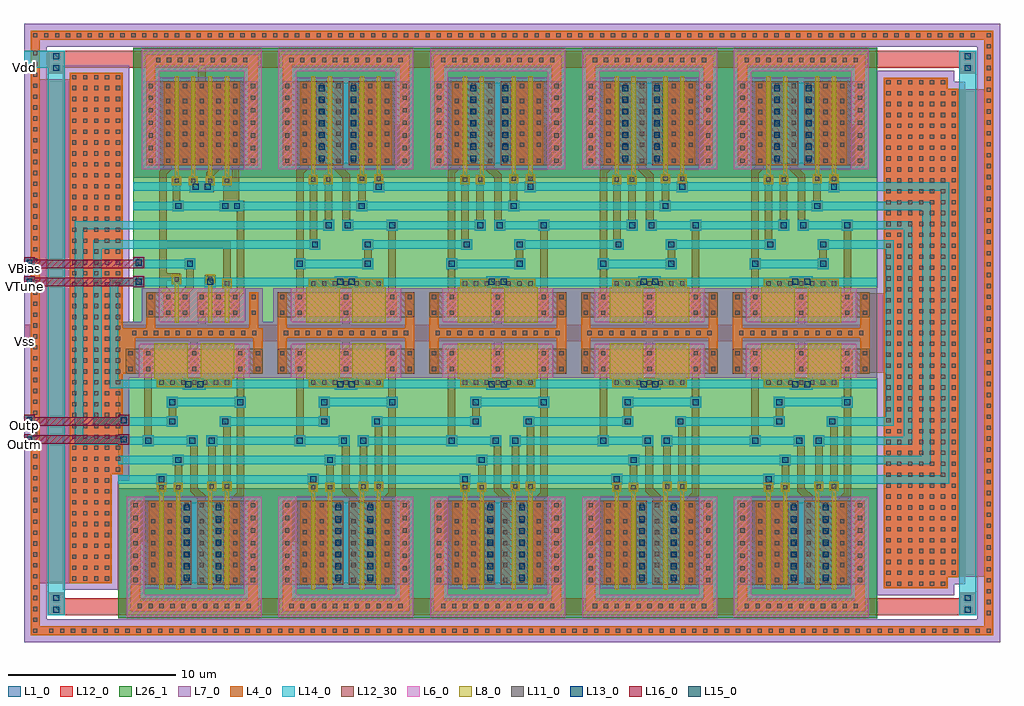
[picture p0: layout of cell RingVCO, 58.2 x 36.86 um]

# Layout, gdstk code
from math import pi, radians
import gdstk
lib = gdstk.Library(unit=1e-6, precision=1e-09)
def R(c, l, rs):  # rectangles x0, y0, x1, y1
    for r in rs: c.add(gdstk.rectangle(r[:2], r[2:], *l))
def A(c, l, x, y, w, h, nx, ny, dx, dy):  # array of equal rectangles
    R(c, l, [(x+i*dx, y+j*dy, x+i*dx+w, y+j*dy+h) for i in range(nx) for j in range(ny)])
L1_0 = (1, 0)
L4_0 = (4, 0)
L6_0 = (6, 0)
L7_0 = (7, 0)
L8_0 = (8, 0)
L11_0 = (11, 0)
L12_0 = (12, 0)
L12_30 = (12, 30)
L13_0 = (13, 0)
L14_0 = (14, 0)
L15_0 = (15, 0)
L16_0 = (16, 0)
L26_1 = (26, 1)

cnt_ptap_auto_5_1 = lib.new_cell('Cnt_PTAP_Auto_5_1')
R(cnt_ptap_auto_5_1, L4_0, [(-1.9,-15.225,1.9,15.225)])
R(cnt_ptap_auto_5_1, L7_0, [(-2.3,-15.625,2.3,15.625)])
A(cnt_ptap_auto_5_1, L11_0, -1.75, -15.075, 0.25, 0.25, 6, 47, 0.65, 0.65)
R(cnt_ptap_auto_5_1, L12_0, [(-1.85,-15.175,1.85,15.175)])

cnt_ptap_auto_4_1 = lib.new_cell('Cnt_PTAP_Auto_4_1')
R(cnt_ptap_auto_4_1, L4_0, [(-0.275,-14.575,0.275,14.575)])
R(cnt_ptap_auto_4_1, L7_0, [(-0.675,-14.975,0.675,14.975)])
A(cnt_ptap_auto_4_1, L11_0, -0.125, -14.425, 0.25, 0.25, 1, 45, 0, 0.65)
R(cnt_ptap_auto_4_1, L12_0, [(-0.225,-14.525,0.225,14.525)])

cnt_ptap_auto_3_1 = lib.new_cell('Cnt_PTAP_Auto_3_1')
R(cnt_ptap_auto_3_1, L4_0, [(-1.25,-3.2,1.25,3.2)])
R(cnt_ptap_auto_3_1, L7_0, [(-1.65,-3.6,1.65,3.6)])
A(cnt_ptap_auto_3_1, L11_0, -1.1, -3.05, 0.25, 0.25, 4, 10, 0.65, 0.65)
R(cnt_ptap_auto_3_1, L12_0, [(-1.2,-3.15,1.2,3.15)])

cnt_ptap_auto_2_1 = lib.new_cell('Cnt_PTAP_Auto_2_1')
R(cnt_ptap_auto_2_1, L4_0, [(-1.575,-11.975,1.575,11.975)])
R(cnt_ptap_auto_2_1, L7_0, [(-1.975,-12.375,1.975,12.375)])
A(cnt_ptap_auto_2_1, L11_0, -1.425, -11.825, 0.25, 0.25, 5, 37, 0.65, 0.65)
R(cnt_ptap_auto_2_1, L12_0, [(-1.525,-11.925,1.525,11.925)])

via_m1m2_auto_1_1 = lib.new_cell('Via_M1M2_Auto_1_1')
R(via_m1m2_auto_1_1, L12_0, [(-0.325,-0.675,0.325,0.675)])
R(via_m1m2_auto_1_1, L13_0, [(-0.175,-0.525,0.175,-0.175), (-0.175,0.175,0.175,0.525)])
R(via_m1m2_auto_1_1, L14_0, [(-0.325,-0.675,0.325,0.675)])

via_m2m3_auto_0_1 = lib.new_cell('Via_M2M3_Auto_0_1')
R(via_m2m3_auto_0_1, L14_0, [(-0.325,-0.325,0.325,0.325)])
R(via_m2m3_auto_0_1, L15_0, [(-0.175,-0.175,0.175,0.175)])
R(via_m2m3_auto_0_1, L16_0, [(-0.325,-0.325,0.325,0.325)])

via_m1m2_auto_13_1 = lib.new_cell('Via_M1M2_Auto_13_1')
R(via_m1m2_auto_13_1, L12_0, [(-0.675,-0.325,0.675,0.325)])
R(via_m1m2_auto_13_1, L13_0, [(-0.525,-0.175,-0.175,0.175), (0.175,-0.175,0.525,0.175)])
R(via_m1m2_auto_13_1, L14_0, [(-0.675,-0.325,0.675,0.325)])

via_m1m2_auto_12_1 = lib.new_cell('Via_M1M2_Auto_12_1')
R(via_m1m2_auto_12_1, L12_0, [(-0.325,-0.325,0.325,0.325)])
R(via_m1m2_auto_12_1, L13_0, [(-0.175,-0.175,0.175,0.175)])
R(via_m1m2_auto_12_1, L14_0, [(-0.325,-0.325,0.325,0.325)])

cnt_poly_auto_11_1 = lib.new_cell('Cnt_Poly_Auto_11_1')
R(cnt_poly_auto_11_1, L8_0, [(-0.275,-0.275,0.275,0.275)])
R(cnt_poly_auto_11_1, L11_0, [(-0.125,-0.125,0.125,0.125)])
R(cnt_poly_auto_11_1, L12_0, [(-0.225,-0.225,0.225,0.225)])

cnt_ntap_auto_10_1 = lib.new_cell('Cnt_NTAP_Auto_10_1')
R(cnt_ntap_auto_10_1, L1_0, [(-3.325,-0.725,3.325,0.725)])
R(cnt_ntap_auto_10_1, L4_0, [(-2.875,-0.275,2.875,0.275)])
R(cnt_ntap_auto_10_1, L6_0, [(-3.275,-0.675,3.275,0.675)])
A(cnt_ntap_auto_10_1, L11_0, -2.725, -0.125, 0.25, 0.25, 9, 1, 0.65, 0)
R(cnt_ntap_auto_10_1, L12_0, [(-2.825,-0.225,2.825,0.225)])

c__pdk_cs = lib.new_cell('_PDK_CS')
R(c__pdk_cs, L11_0, [(0,0,0.25,0.25)])

nmos25_auto_9_1 = lib.new_cell('nmos25_Auto_9_1')
R(nmos25_auto_9_1, L4_0, [(-0.65,0,0.9,1.5)])
R(nmos25_auto_9_1, L6_0, [(-0.9,-0.25,1.15,1.75)])
R(nmos25_auto_9_1, L8_0, [(0,-0.3,0.25,1.8), (0,-0.3,0.25,1.8)])
R(nmos25_auto_9_1, L12_0, [(-0.6,0.05,-0.15,1.45), (-0.6,0.05,-0.15,1.45), (0.4,0.05,0.85,1.45), (0.4,0.05,0.85,1.45)])
R(nmos25_auto_9_1, L12_30, [(-0.65,0,0.9,1.5)])
nmos25_auto_9_1.add(gdstk.Reference(c__pdk_cs, (0.5,1.1)))
nmos25_auto_9_1.add(gdstk.Reference(c__pdk_cs, (0.5,0.15)))
nmos25_auto_9_1.add(gdstk.Reference(c__pdk_cs, (-0.5,1.1)))
nmos25_auto_9_1.add(gdstk.Reference(c__pdk_cs, (-0.5,0.15)))
nmos25_auto_9_1.add(gdstk.Label('G', (0.125,0.75), layer=8, texttype=0))
nmos25_auto_9_1.add(gdstk.Label('D', (0.625,0.75), layer=12, texttype=0))
nmos25_auto_9_1.add(gdstk.Label('S', (-0.375,0.75), layer=12, texttype=0))

nmos25_auto_8_1 = lib.new_cell('nmos25_Auto_8_1')
R(nmos25_auto_8_1, L4_0, [(-0.65,0,0.9,1.5), (1.4,0,1.95,1.5)])
R(nmos25_auto_8_1, L6_0, [(-0.9,-0.25,1.15,1.75)])
R(nmos25_auto_8_1, L7_0, [(1.15,-0.25,2.2,1.75)])
R(nmos25_auto_8_1, L8_0, [(0,-0.3,0.25,1.8), (0,-0.3,0.25,1.8)])
R(nmos25_auto_8_1, L11_0, [(1.55,0.15,1.8,0.4), (1.55,1.1,1.8,1.35)])
R(nmos25_auto_8_1, L12_0, [(-0.6,0.05,-0.15,1.45), (-0.6,0.05,-0.15,1.45), (0.4,0.05,0.85,1.45), (0.4,0.05,0.85,1.45), (1.45,0.05,1.9,1.45), (1.45,0.05,1.9,1.45)])
R(nmos25_auto_8_1, L12_30, [(-0.65,0,1.95,1.5)])
nmos25_auto_8_1.add(gdstk.Reference(c__pdk_cs, (0.5,1.1)))
nmos25_auto_8_1.add(gdstk.Reference(c__pdk_cs, (0.5,0.15)))
nmos25_auto_8_1.add(gdstk.Reference(c__pdk_cs, (-0.5,1.1)))
nmos25_auto_8_1.add(gdstk.Reference(c__pdk_cs, (-0.5,0.15)))
nmos25_auto_8_1.add(gdstk.Label('B', (1.675,0.75), layer=12, texttype=0))
nmos25_auto_8_1.add(gdstk.Label('G', (0.125,0.75), layer=8, texttype=0))
nmos25_auto_8_1.add(gdstk.Label('D', (0.625,0.75), layer=12, texttype=0))
nmos25_auto_8_1.add(gdstk.Label('S', (-0.375,0.75), layer=12, texttype=0))

pmos25_auto_6_1 = lib.new_cell('pmos25_Auto_6_1')
R(pmos25_auto_6_1, L1_0, [(-1.4,-0.75,2.7,5.75)])
R(pmos25_auto_6_1, L4_0, [(-0.65,0,0.9,5), (1.4,0,1.95,5)])
R(pmos25_auto_6_1, L6_0, [(1.15,-0.25,2.2,5.25)])
R(pmos25_auto_6_1, L7_0, [(-0.9,-0.25,1.15,5.25)])
R(pmos25_auto_6_1, L8_0, [(0,-0.3,0.25,5.3), (0,-0.3,0.25,5.3)])
A(pmos25_auto_6_1, L11_0, 1.55, 0.15, 0.25, 0.25, 1, 6, 0, 0.75)
R(pmos25_auto_6_1, L11_0, [(1.55,4.6,1.8,4.85)])
R(pmos25_auto_6_1, L12_0, [(-0.6,0.05,-0.15,4.95), (-0.6,0.05,-0.15,4.95), (0.4,0.05,0.85,4.95), (0.4,0.05,0.85,4.95), (1.45,0.05,1.9,4.95), (1.45,0.05,1.9,4.95)])
R(pmos25_auto_6_1, L12_30, [(-0.65,0,1.95,5)])
r = gdstk.Reference(c__pdk_cs, (0.5,1.1)); r.repetition = gdstk.Repetition(1, 5, v1=(0.65,0), v2=(0,0.65)); pmos25_auto_6_1.add(r)
pmos25_auto_6_1.add(gdstk.Reference(c__pdk_cs, (0.5,4.6)))
pmos25_auto_6_1.add(gdstk.Reference(c__pdk_cs, (0.5,0.15)))
r = gdstk.Reference(c__pdk_cs, (-0.5,1.1)); r.repetition = gdstk.Repetition(1, 5, v1=(0.65,0), v2=(0,0.65)); pmos25_auto_6_1.add(r)
pmos25_auto_6_1.add(gdstk.Reference(c__pdk_cs, (-0.5,4.6)))
pmos25_auto_6_1.add(gdstk.Reference(c__pdk_cs, (-0.5,0.15)))
pmos25_auto_6_1.add(gdstk.Label('B', (1.675,2.5), layer=12, texttype=0))
pmos25_auto_6_1.add(gdstk.Label('G', (0.125,2.5), layer=8, texttype=0))
pmos25_auto_6_1.add(gdstk.Label('D', (0.625,2.5), layer=12, texttype=0))
pmos25_auto_6_1.add(gdstk.Label('S', (-0.375,2.5), layer=12, texttype=0))

pmos25_auto_7_1 = lib.new_cell('pmos25_Auto_7_1')
R(pmos25_auto_7_1, L1_0, [(-1.4,-0.75,1.65,5.75)])
R(pmos25_auto_7_1, L4_0, [(-0.65,0,0.9,5)])
R(pmos25_auto_7_1, L7_0, [(-0.9,-0.25,1.15,5.25)])
R(pmos25_auto_7_1, L8_0, [(0,-0.3,0.25,5.3), (0,-0.3,0.25,5.3)])
R(pmos25_auto_7_1, L12_0, [(-0.6,0.05,-0.15,4.95), (-0.6,0.05,-0.15,4.95), (0.4,0.05,0.85,4.95), (0.4,0.05,0.85,4.95)])
R(pmos25_auto_7_1, L12_30, [(-0.65,0,0.9,5)])
r = gdstk.Reference(c__pdk_cs, (0.5,1.1)); r.repetition = gdstk.Repetition(1, 5, v1=(0.65,0), v2=(0,0.65)); pmos25_auto_7_1.add(r)
pmos25_auto_7_1.add(gdstk.Reference(c__pdk_cs, (0.5,4.6)))
pmos25_auto_7_1.add(gdstk.Reference(c__pdk_cs, (0.5,0.15)))
r = gdstk.Reference(c__pdk_cs, (-0.5,1.1)); r.repetition = gdstk.Repetition(1, 5, v1=(0.65,0), v2=(0,0.65)); pmos25_auto_7_1.add(r)
pmos25_auto_7_1.add(gdstk.Reference(c__pdk_cs, (-0.5,4.6)))
pmos25_auto_7_1.add(gdstk.Reference(c__pdk_cs, (-0.5,0.15)))
pmos25_auto_7_1.add(gdstk.Label('G', (0.125,2.5), layer=8, texttype=0))
pmos25_auto_7_1.add(gdstk.Label('D', (0.625,2.5), layer=12, texttype=0))
pmos25_auto_7_1.add(gdstk.Label('S', (-0.375,2.5), layer=12, texttype=0))

control = lib.new_cell('Control')
R(control, L1_0, [(-0.2,15.98,7.95,17.23)])
R(control, L4_0, [(0.55,-0.025,1.1,1.15), (6.7,-0.025,7.25,2.65), (0.55,15.23,1.1,16.78), (6.65,15.23,7.2,16.78)])
R(control, L6_0, [(0.3,15.48,1.35,17.18), (6.4,15.48,7.45,17.18)])
R(control, L7_0, [(0.3,-0.275,1.35,2.9), (6.45,-0.275,7.5,2.9)])
R(control, L11_0, [(6.85,1.3,7.1,1.55), (6.85,2.25,7.1,2.5)])
R(control, L12_0, [(-0.2,-0.275,7.95,0.725), (6.75,0.225,7.2,2.6), (4.05,3.6,4.7,3.68), (5.15,7.625,6.1,9.525), (3.15,8.625,4.6,9.075), (-0.2,16.055,7.95,17.055)])
A(control, L14_0, -0.2, 5.25, 8.15, 0.5, 1, 4, 0, 1.15)
R(control, L14_0, [(-0.2,3.025,7.95,3.525), (-0.2,4.1,3.5,4.6)])
R(control, L26_1, [(-0.205,-0.275,7.95,17.235)])
control.add(gdstk.FlexPath([(4.375,9.43),(4.375,9.93)], 0.25, ends="extended", simple_path=True, layer=8, datatype=0))  # L8_0
control.add(gdstk.FlexPath([(2.375,3.25),(2.375,2.95)], 0.25, ends="extended", simple_path=True, layer=8, datatype=0))  # L8_0
control.add(gdstk.FlexPath([(4.375,3.45),(4.375,2.95)], 0.25, ends="extended", simple_path=True, layer=8, datatype=0))  # L8_0
control.add(gdstk.FlexPath([(5.375,9.43),(5.375,9.93)], 0.25, ends="extended", simple_path=True, layer=8, datatype=0))  # L8_0
control.add(gdstk.FlexPath([(2.375,9.515),(2.375,9.93)], 0.25, ends="extended", simple_path=True, layer=8, datatype=0))  # L8_0
control.add(gdstk.FlexPath([(3.375,9.58),(3.375,9.93)], 0.25, ends="extended", simple_path=True, layer=8, datatype=0))  # L8_0
control.add(gdstk.FlexPath([(5.375,4.375),(5.375,5.505),(1.575,5.505)], 0.45, ends="extended", simple_path=True, layer=12, datatype=0))  # L12_0
control.add(gdstk.FlexPath([(6.175,8.125),(6.175,2.705),(5.875,2.405),(5.875,2.15)], 0.45, ends="flush", simple_path=True, layer=12, datatype=0))  # L12_0
control.add(gdstk.FlexPath([(3.875,16.505),(3.875,14.955)], 0.45, ends="extended", simple_path=True, layer=12, datatype=0))  # L12_0
control.add(gdstk.FlexPath([(6.925,16.475),(6.925,14.955)], 0.45, ends="extended", simple_path=True, layer=12, datatype=0))  # L12_0
control.add(gdstk.FlexPath([(0.825,16.455),(0.825,14.955)], 0.45, ends="extended", simple_path=True, layer=12, datatype=0))  # L12_0
control.add(gdstk.FlexPath([(1.575,3.555),(2.375,3.555)], 0.45, ends="extended", simple_path=True, layer=12, datatype=0))  # L12_0
control.add(gdstk.FlexPath([(3.175,4.37),(3.175,2.955),(2.875,2.655),(2.875,2.15)], 0.45, ends="flush", simple_path=True, layer=12, datatype=0))  # L12_0
control.add(gdstk.FlexPath([(3.875,0.225),(3.875,1.425)], 0.45, ends="extended", simple_path=True, layer=12, datatype=0))  # L12_0
control.add(gdstk.FlexPath([(2.375,7.79),(2.375,9.3)], 0.45, ends="extended", simple_path=True, layer=12, datatype=0))  # L12_0
control.add(gdstk.FlexPath([(5.375,4.375),(5.375,3.455)], 0.45, ends="extended", simple_path=True, layer=12, datatype=0))  # L12_0
control.add(gdstk.FlexPath([(4.375,9.175),(4.375,9.69),(4.875,10.19),(4.875,10.35)], 0.45, ends="extended", simple_path=True, layer=12, datatype=0))  # L12_0
control.add(gdstk.FlexPath([(1.575,7.02),(1.575,2.885),(1.875,2.585),(1.875,2.225)], 0.45, ends="extended", simple_path=True, layer=12, datatype=0))  # L12_0
control.add(gdstk.FlexPath([(1.575,6.905),(1.575,9.77),(1.875,10.07),(1.875,10.43)], 0.45, ends="extended", simple_path=True, layer=12, datatype=0))  # L12_0
control.add(gdstk.FlexPath([(0.825,0.225),(0.825,1.435)], 0.45, ends="flush", simple_path=True, layer=12, datatype=0))  # L12_0
control.add(gdstk.FlexPath([(5.875,9.52),(5.875,10.505)], 0.45, ends="extended", simple_path=True, layer=12, datatype=0))  # L12_0
control.add(gdstk.Reference(via_m1m2_auto_13_1, (3.875,8.95)))
control.add(gdstk.Reference(via_m1m2_auto_13_1, (5.63,7.8)))
control.add(gdstk.Reference(via_m1m2_auto_12_1, (3.175,4.35)))
control.add(gdstk.Reference(via_m1m2_auto_12_1, (4.375,3.275)))
control.add(gdstk.Reference(via_m1m2_auto_12_1, (2.475,7.8)))
control.add(gdstk.Reference(cnt_poly_auto_11_1, (2.375,3.42)))
control.add(gdstk.Reference(cnt_poly_auto_11_1, (4.375,9.3)))
control.add(gdstk.Reference(cnt_poly_auto_11_1, (5.375,9.3)))
control.add(gdstk.Reference(cnt_poly_auto_11_1, (3.375,9.3)))
control.add(gdstk.Reference(cnt_poly_auto_11_1, (4.375,3.455)))
control.add(gdstk.Reference(cnt_poly_auto_11_1, (2.375,9.3)))
control.add(gdstk.Reference(cnt_poly_auto_11_1, (5.375,3.175)))
control.add(gdstk.Reference(cnt_ntap_auto_10_1, (3.875,16.505)))
control.add(gdstk.Reference(nmos25_auto_9_1, (5.25,1.15)))
control.add(gdstk.Reference(nmos25_auto_9_1, (4.25,1.15)))
control.add(gdstk.Reference(nmos25_auto_8_1, (2.5,1.15), rotation=pi, x_reflection=True))
control.add(gdstk.Reference(pmos25_auto_6_1, (5.25,10.23)))
control.add(gdstk.Reference(pmos25_auto_7_1, (4.25,10.23)))
control.add(gdstk.Reference(pmos25_auto_7_1, (3.5,10.23), rotation=pi, x_reflection=True))
control.add(gdstk.Reference(pmos25_auto_6_1, (2.5,10.23), rotation=pi, x_reflection=True))
control.add(gdstk.Label('VTune', (-0.2,3.025), layer=14, texttype=0))
control.add(gdstk.Label('Vb2', (-0.2,7.55), layer=14, texttype=0))
control.add(gdstk.Label('Vb1', (-0.2,8.7), layer=14, texttype=0))
control.add(gdstk.Label('VBias', (-0.2,4.1), layer=14, texttype=0))
control.add(gdstk.Label('Vdd', (-0.2,16.555), layer=12, texttype=0))
control.add(gdstk.Label('Vss', (-0.145,0.225), layer=12, texttype=0))

via_m1m2_auto_20_1 = lib.new_cell('Via_M1M2_Auto_20_1')
R(via_m1m2_auto_20_1, L12_0, [(-0.675,-0.325,0.675,0.325)])
R(via_m1m2_auto_20_1, L13_0, [(-0.525,-0.175,-0.175,0.175), (0.175,-0.175,0.525,0.175)])
R(via_m1m2_auto_20_1, L14_0, [(-0.675,-0.325,0.675,0.325)])

cnt_poly_auto_19_1 = lib.new_cell('Cnt_Poly_Auto_19_1')
R(cnt_poly_auto_19_1, L8_0, [(-2.225,-0.275,2.225,0.275)])
A(cnt_poly_auto_19_1, L11_0, -2.075, -0.125, 0.25, 0.25, 7, 1, 0.65, 0)
R(cnt_poly_auto_19_1, L12_0, [(-2.175,-0.225,2.175,0.225)])

cnt_ptap_auto_18_1 = lib.new_cell('Cnt_PTAP_Auto_18_1')
R(cnt_ptap_auto_18_1, L4_0, [(-3.85,-0.275,3.85,0.275)])
R(cnt_ptap_auto_18_1, L7_0, [(-4.25,-0.675,4.25,0.675)])
A(cnt_ptap_auto_18_1, L11_0, -3.7, -0.125, 0.25, 0.25, 12, 1, 0.65, 0)
R(cnt_ptap_auto_18_1, L12_0, [(-3.8,-0.225,3.8,0.225)])

cnt_ntap_auto_17_1 = lib.new_cell('Cnt_NTAP_Auto_17_1')
R(cnt_ntap_auto_17_1, L1_0, [(-3.975,-0.725,3.975,0.725)])
R(cnt_ntap_auto_17_1, L4_0, [(-3.525,-0.275,3.525,0.275)])
R(cnt_ntap_auto_17_1, L6_0, [(-3.925,-0.675,3.925,0.675)])
A(cnt_ntap_auto_17_1, L11_0, -3.375, -0.125, 0.25, 0.25, 11, 1, 0.65, 0)
R(cnt_ntap_auto_17_1, L12_0, [(-3.475,-0.225,3.475,0.225)])

via_m1m2_auto_16_1 = lib.new_cell('Via_M1M2_Auto_16_1')
R(via_m1m2_auto_16_1, L12_0, [(-0.325,-2.425,0.325,2.425)])
A(via_m1m2_auto_16_1, L13_0, -0.175, -2.275, 0.35, 0.35, 1, 7, 0, 0.7)
R(via_m1m2_auto_16_1, L14_0, [(-0.325,-2.425,0.325,2.425)])

nmos25x_auto_15_1 = lib.new_cell('nmos25x_Auto_15_1')
R(nmos25x_auto_15_1, L4_0, [(-0.65,0,2.65,1.5), (3.15,0,3.7,1.5)])
R(nmos25x_auto_15_1, L6_0, [(-0.9,-0.25,2.9,1.75)])
R(nmos25x_auto_15_1, L7_0, [(2.9,-0.25,3.95,1.75)])
R(nmos25x_auto_15_1, L8_0, [(0,-0.3,2,1.8), (0,-0.3,2,1.8)])
R(nmos25x_auto_15_1, L11_0, [(3.3,0.15,3.55,0.4), (3.3,1.1,3.55,1.35)])
R(nmos25x_auto_15_1, L12_0, [(-0.6,0.05,-0.15,1.45), (-0.6,0.05,-0.15,1.45), (2.15,0.05,2.6,1.45), (2.15,0.05,2.6,1.45), (3.2,0.05,3.65,1.45), (3.2,0.05,3.65,1.45)])
R(nmos25x_auto_15_1, L12_30, [(-0.65,0,3.7,1.5)])
nmos25x_auto_15_1.add(gdstk.Reference(c__pdk_cs, (2.25,1.1)))
nmos25x_auto_15_1.add(gdstk.Reference(c__pdk_cs, (2.25,0.15)))
nmos25x_auto_15_1.add(gdstk.Reference(c__pdk_cs, (-0.5,1.1)))
nmos25x_auto_15_1.add(gdstk.Reference(c__pdk_cs, (-0.5,0.15)))
nmos25x_auto_15_1.add(gdstk.Label('B', (3.425,0.75), layer=12, texttype=0))
nmos25x_auto_15_1.add(gdstk.Label('G', (1,0.75), layer=8, texttype=0))
nmos25x_auto_15_1.add(gdstk.Label('D', (2.375,0.75), layer=12, texttype=0))
nmos25x_auto_15_1.add(gdstk.Label('S', (-0.375,0.75), layer=12, texttype=0))

pmos25x_auto_14_1 = lib.new_cell('pmos25x_Auto_14_1')
R(pmos25x_auto_14_1, L1_0, [(-2.45,-0.75,1.65,5.75)])
R(pmos25x_auto_14_1, L4_0, [(-1.7,0,-1.15,5), (-0.65,0,0.9,5)])
R(pmos25x_auto_14_1, L6_0, [(-1.95,-0.25,-0.9,5.25)])
R(pmos25x_auto_14_1, L7_0, [(-0.9,-0.25,1.15,5.25)])
R(pmos25x_auto_14_1, L8_0, [(0,-0.3,0.25,5.3), (0,-0.3,0.25,5.3)])
A(pmos25x_auto_14_1, L11_0, -1.55, 0.15, 0.25, 0.25, 1, 6, 0, 0.75)
R(pmos25x_auto_14_1, L11_0, [(-1.55,4.6,-1.3,4.85)])
R(pmos25x_auto_14_1, L12_0, [(-1.65,0.05,-1.2,4.95), (-1.65,0.05,-1.2,4.95), (-0.6,0.05,-0.15,4.95), (-0.6,0.05,-0.15,4.95), (0.4,0.05,0.85,4.95), (0.4,0.05,0.85,4.95)])
R(pmos25x_auto_14_1, L12_30, [(-1.7,0,0.9,5)])
r = gdstk.Reference(c__pdk_cs, (0.5,1.1)); r.repetition = gdstk.Repetition(1, 5, v1=(0.65,0), v2=(0,0.65)); pmos25x_auto_14_1.add(r)
pmos25x_auto_14_1.add(gdstk.Reference(c__pdk_cs, (0.5,4.6)))
pmos25x_auto_14_1.add(gdstk.Reference(c__pdk_cs, (0.5,0.15)))
r = gdstk.Reference(c__pdk_cs, (-0.5,1.1)); r.repetition = gdstk.Repetition(1, 5, v1=(0.65,0), v2=(0,0.65)); pmos25x_auto_14_1.add(r)
pmos25x_auto_14_1.add(gdstk.Reference(c__pdk_cs, (-0.5,4.6)))
pmos25x_auto_14_1.add(gdstk.Reference(c__pdk_cs, (-0.5,0.15)))
pmos25x_auto_14_1.add(gdstk.Label('B', (-1.425,2.5), layer=12, texttype=0))
pmos25x_auto_14_1.add(gdstk.Label('G', (0.125,2.5), layer=8, texttype=0))
pmos25x_auto_14_1.add(gdstk.Label('D', (0.625,2.5), layer=12, texttype=0))
pmos25x_auto_14_1.add(gdstk.Label('S', (-0.375,2.5), layer=12, texttype=0))

diffcell = lib.new_cell('DiffCell')
R(diffcell, L1_0, [(-0.055,16.255,8.995,17.505)])
R(diffcell, L4_0, [(0.395,0.225,0.945,1.425), (7.995,0.225,8.545,1.425), (0.695,15.505,1.245,17.055), (7.695,15.505,8.245,17.055)])
R(diffcell, L6_0, [(0.445,15.755,1.495,17.455), (7.445,15.755,8.495,17.455)])
R(diffcell, L7_0, [(0.145,-0.175,0.22,1.175), (8.72,-0.175,8.795,1.175)])
R(diffcell, L12_0, [(-0.055,0,8.995,1), (2.695,10.555,3.345,10.58), (4.595,10.555,5.245,10.58), (6.695,10.555,8.195,12.955), (2.695,15.43,3.345,15.455), (4.595,15.43,5.245,15.455), (-0.055,16.33,8.995,17.33), (-0.055,16.33,8.995,17.33)])
R(diffcell, L14_0, [(-0.055,3.3,8.995,3.8), (1.395,4.375,6.1,4.875), (-0.055,5.525,2.945,6.025), (-0.055,5.525,0.445,6.025), (5.45,5.525,8.995,6.025), (8.495,5.525,8.995,6.025), (-0.055,6.675,3.76,7.175), (-0.055,6.675,0.445,7.175), (4.26,6.675,8.995,7.175), (8.495,6.675,8.995,7.175), (-0.055,7.825,8.995,8.325), (-0.055,8.975,8.995,9.475), (2.695,10.58,5.245,15.43)])
R(diffcell, L26_1, [(-0.055,-0.175,8.995,17.505)])
diffcell.add(gdstk.FlexPath([(5.42,9.705),(5.42,10.205)], 0.25, ends="extended", simple_path=True, layer=8, datatype=0))  # L8_0
diffcell.add(gdstk.FlexPath([(6.42,9.705),(6.42,10.205)], 0.25, ends="extended", simple_path=True, layer=8, datatype=0))  # L8_0
diffcell.add(gdstk.FlexPath([(2.52,9.79),(2.52,10.205)], 0.25, ends="extended", simple_path=True, layer=8, datatype=0))  # L8_0
diffcell.add(gdstk.FlexPath([(3.52,9.855),(3.52,10.205)], 0.25, ends="extended", simple_path=True, layer=8, datatype=0))  # L8_0
diffcell.add(gdstk.FlexPath([(3.415,6.67),(3.415,9.685)], 0.45, ends="flush", simple_path=True, layer=12, datatype=0))  # L12_0
diffcell.add(gdstk.FlexPath([(4.485,6.925),(4.485,9.848),(4.02,10.313),(4.02,10.78)], 0.45, ends="flush", simple_path=True, layer=12, datatype=0))  # L12_0
diffcell.add(gdstk.FlexPath([(7.97,16.75),(7.97,15.23)], 0.45, ends="extended", simple_path=True, layer=12, datatype=0))  # L12_0
diffcell.add(gdstk.FlexPath([(0.97,16.73),(0.97,15.23)], 0.45, ends="extended", simple_path=True, layer=12, datatype=0))  # L12_0
diffcell.add(gdstk.FlexPath([(7.22,6.925),(7.22,2.04)], 0.45, ends="flush", simple_path=True, layer=12, datatype=0))  # L12_0
diffcell.add(gdstk.FlexPath([(5.775,4.625),(5.775,5.765)], 0.45, ends="extended", simple_path=True, layer=12, datatype=0))  # L12_0
diffcell.add(gdstk.FlexPath([(6.42,9.12),(6.42,9.7)], 0.45, ends="flush", simple_path=True, layer=12, datatype=0))  # L12_0
diffcell.add(gdstk.FlexPath([(5.42,8.075),(5.42,9.7)], 0.45, ends="flush", simple_path=True, layer=12, datatype=0))  # L12_0
diffcell.add(gdstk.FlexPath([(4.47,0.5),(4.47,1.71)], 0.45, ends="flush", simple_path=True, layer=12, datatype=0))  # L12_0
diffcell.add(gdstk.FlexPath([(8.27,0.5),(8.27,1.71)], 0.45, ends="flush", simple_path=True, layer=12, datatype=0))  # L12_0
diffcell.add(gdstk.FlexPath([(0.67,0.5),(0.67,1.71)], 0.45, ends="flush", simple_path=True, layer=12, datatype=0))  # L12_0
diffcell.add(gdstk.FlexPath([(1.72,1.74),(1.72,10.12),(2.02,10.42),(2.02,10.78)], 0.45, ends="flush", simple_path=True, layer=12, datatype=0))  # L12_0
diffcell.add(gdstk.FlexPath([(2.52,5.525),(2.52,9.69)], 0.45, ends="flush", simple_path=True, layer=12, datatype=0))  # L12_0
diffcell.add(gdstk.Reference(cnt_poly_auto_11_1, (3.42,9.65)))
diffcell.add(gdstk.Reference(cnt_poly_auto_11_1, (2.52,9.65)))
diffcell.add(gdstk.Reference(cnt_poly_auto_11_1, (6.42,9.7)))
diffcell.add(gdstk.Reference(cnt_poly_auto_11_1, (5.42,9.7)))
diffcell.add(gdstk.Reference(via_m1m2_auto_20_1, (4.47,3.55)))
diffcell.add(gdstk.Reference(cnt_poly_auto_19_1, (4.47,3.45)))
diffcell.add(gdstk.Reference(cnt_ptap_auto_18_1, (4.47,0.5)))
diffcell.add(gdstk.Reference(via_m1m2_auto_12_1, (4.585,6.925)))
diffcell.add(gdstk.Reference(via_m1m2_auto_12_1, (7.22,6.925)))
diffcell.add(gdstk.Reference(via_m1m2_auto_12_1, (5.775,5.775)))
diffcell.add(gdstk.Reference(via_m1m2_auto_12_1, (6.42,9.225)))
diffcell.add(gdstk.Reference(via_m1m2_auto_12_1, (5.42,8.075)))
diffcell.add(gdstk.Reference(via_m1m2_auto_12_1, (5.775,4.625)))
diffcell.add(gdstk.Reference(via_m1m2_auto_12_1, (1.72,4.625)))
diffcell.add(gdstk.Reference(via_m1m2_auto_12_1, (3.435,6.925)))
diffcell.add(gdstk.Reference(via_m1m2_auto_12_1, (2.62,5.775)))
diffcell.add(gdstk.Reference(cnt_ntap_auto_17_1, (4.47,16.78)))
diffcell.add(gdstk.Reference(via_m1m2_auto_16_1, (3.02,13.005)))
diffcell.add(gdstk.Reference(via_m1m2_auto_16_1, (4.92,13.005)))
diffcell.add(gdstk.Reference(nmos25x_auto_15_1, (4.845,1.425)))
diffcell.add(gdstk.Reference(nmos25x_auto_15_1, (4.095,1.425), rotation=pi, x_reflection=True))
diffcell.add(gdstk.Reference(pmos25x_auto_14_1, (6.545,10.505), rotation=pi, x_reflection=True))
diffcell.add(gdstk.Reference(pmos25_auto_7_1, (5.545,10.505), rotation=pi, x_reflection=True))
diffcell.add(gdstk.Reference(pmos25_auto_7_1, (3.395,10.505)))
diffcell.add(gdstk.Reference(pmos25_auto_6_1, (2.645,10.505), rotation=pi, x_reflection=True))
diffcell.add(gdstk.Label('VTune', (-0.055,3.3), layer=14, texttype=0))
diffcell.add(gdstk.Label('Inm', (-0.055,5.525), layer=14, texttype=0))
diffcell.add(gdstk.Label('Inp', (-0.055,6.675), layer=14, texttype=0))
diffcell.add(gdstk.Label('Vb2', (-0.055,7.825), layer=14, texttype=0))
diffcell.add(gdstk.Label('Vb1', (-0.055,8.975), layer=14, texttype=0))
diffcell.add(gdstk.Label('Outm', (8.495,6.675), layer=14, texttype=0))
diffcell.add(gdstk.Label('Outp', (8.495,5.525), layer=14, texttype=0))
diffcell.add(gdstk.Label('Vdd', (-0.055,16.83), layer=12, texttype=0))
diffcell.add(gdstk.Label('Vss', (-0.055,0.5), layer=12, texttype=0))

ringvco = lib.new_cell('RingVCO')
R(ringvco, L1_0, [(5.3,1.425,50.55,9.175), (6.2,27.685,50.55,35.435)])
R(ringvco, L4_0, [(0.075,0.4,57.475,0.95), (0.075,0.4,0.625,36.46), (56.925,0.4,57.475,36.46), (54.75,3.855,54.85,33.005), (2.4,9.91,4.9,10.01), (5.48,16.005,5.75,18.705), (0.075,35.91,57.475,36.46)])
A(ringvco, L7_0, 23.2, 15.755, 0.4, 5.35, 3, 1, 9.05, 0)
R(ringvco, L7_0, [(-0.325,0,57.875,1.35), (-0.325,0,1.025,36.86), (56.525,0,57.875,36.86), (14.15,15.755,14.55,19.105), (50.35,15.755,50.55,21.105), (-0.325,35.51,57.875,36.86)])
A(ringvco, L11_0, 0.225, 0.55, 0.25, 0.25, 1, 54, 0, 0.65)
A(ringvco, L11_0, 1.175, 0.55, 0.25, 0.25, 87, 1, 0.65, 0)
A(ringvco, L11_0, 57.075, 1.61, 0.25, 0.25, 1, 54, 0, 0.65)
A(ringvco, L11_0, 0.225, 36.06, 0.25, 0.25, 87, 1, 0.65, 0)
R(ringvco, L12_0, [(0.125,0.45,57.425,0.9), (0.125,0.45,0.575,36.41), (56.975,0.45,57.425,36.41), (0.45,3.51,3.45,33.56), (54.35,3.905,54.9,32.955), (55.35,3.905,57.2,32.955), (2.45,9.86,4.85,10.06), (4.695,16.055,5.8,18.005), (50.05,16.055,52.525,20.805), (-0.325,17.93,0.675,18.93), (0.125,35.96,57.425,36.41)])
R(ringvco, L14_0, [(-0.325,11.755,0.175,12.255), (-0.325,12.905,0.175,13.405), (-0.325,21.23,0.175,21.73), (-0.325,22.305,0.175,22.805), (-0.325,34.26,0.675,35.26)])
ringvco.add(gdstk.FlexPath([(57.2,18.43),(49.86,18.43)], 1, ends="flush", simple_path=True, layer=12, datatype=0))  # L12_0
ringvco.add(gdstk.FlexPath([(1.6,2.95),(1.6,2.1),(5.84,2.1)], 1, ends="flush", simple_path=True, layer=12, datatype=0))  # L12_0
ringvco.add(gdstk.FlexPath([(8.73,34.76),(1.6,34.76),(1.6,33.91)], 1, ends="flush", simple_path=True, layer=12, datatype=0))  # L12_0
ringvco.add(gdstk.FlexPath([(55.95,33.91),(55.95,34.76),(50.16,34.76)], 1, ends="flush", simple_path=True, layer=12, datatype=0))  # L12_0
ringvco.add(gdstk.FlexPath([(49.8,2.1),(55.95,2.1),(55.95,2.95)], 1, ends="flush", simple_path=True, layer=12, datatype=0))  # L12_0
ringvco.add(gdstk.FlexPath([(0.44,18.43),(5.375,18.43)], 1, ends="flush", simple_path=True, layer=12, datatype=0))  # L12_0
ringvco.add(gdstk.FlexPath([(5.55,13.155),(4.05,13.155),(4.05,23.705),(14.85,23.705)], 0.5, ends="extended", simple_path=True, layer=14, datatype=0))  # L14_0
ringvco.add(gdstk.FlexPath([(5.55,12.005),(2.95,12.005),(2.95,24.855),(15.455,24.855)], 0.5, ends="extended", simple_path=True, layer=14, datatype=0))  # L14_0
ringvco.add(gdstk.FlexPath([(1.75,34.76),(-0.175,34.76)], 1, ends="flush", simple_path=True, layer=14, datatype=0))  # L14_0
ringvco.add(gdstk.FlexPath([(1.6,35.26),(1.6,1.6)], 1, ends="flush", simple_path=True, layer=14, datatype=0))  # L14_0
ringvco.add(gdstk.FlexPath([(55.95,35.26),(55.95,1.6)], 1, ends="flush", simple_path=True, layer=14, datatype=0))  # L14_0
ringvco.add(gdstk.FlexPath([(50.55,27.155),(54.6,27.155),(54.6,9.705),(50.58,9.705)], 0.5, ends="extended", simple_path=True, layer=14, datatype=0))  # L14_0
ringvco.add(gdstk.FlexPath([(50.565,26.005),(53.5,26.005),(53.5,10.855),(50.485,10.855)], 0.5, ends="extended", simple_path=True, layer=14, datatype=0))  # L14_0
ringvco.add(gdstk.FlexPath([(50.445,24.855),(52.4,24.855),(52.4,12.005),(50.445,12.005)], 0.5, ends="extended", simple_path=True, layer=14, datatype=0))  # L14_0
ringvco.add(gdstk.FlexPath([(6.56,15.385),(5.05,15.385),(5.05,21.48),(7.615,21.48)], 0.5, ends="extended", simple_path=True, layer=14, datatype=0))  # L14_0
ringvco.add(gdstk.FlexPath([(50.3,13.155),(51.3,13.155),(51.3,23.705),(50.3,23.705)], 0.5, ends="extended", simple_path=True, layer=14, datatype=0))  # L14_0
ringvco.add(gdstk.FlexPath([(0.135,13.155),(5.95,13.155)], 0.5, ends="flush", simple_path=True, layer=16, datatype=0))  # L16_0
ringvco.add(gdstk.FlexPath([(0.125,12.08),(5.95,12.08)], 0.5, ends="flush", simple_path=True, layer=16, datatype=0))  # L16_0
ringvco.add(gdstk.FlexPath([(0.125,21.48),(6.52,21.48)], 0.5, ends="flush", simple_path=True, layer=16, datatype=0))  # L16_0
ringvco.add(gdstk.FlexPath([(0.135,22.555),(6.53,22.555)], 0.5, ends="flush", simple_path=True, layer=16, datatype=0))  # L16_0
ringvco.add(gdstk.Reference(cnt_ptap_auto_5_1, (52.85,18.43)))
ringvco.add(gdstk.Reference(cnt_ptap_auto_4_1, (55.125,18.43)))
ringvco.add(gdstk.Reference(cnt_ptap_auto_3_1, (3.65,6.71)))
ringvco.add(gdstk.Reference(cnt_ptap_auto_2_1, (3.975,21.985)))
ringvco.add(gdstk.Reference(via_m1m2_auto_1_1, (1.6,34.585), rotation=pi, x_reflection=True))
ringvco.add(gdstk.Reference(via_m1m2_auto_1_1, (1.6,2.275), rotation=pi, x_reflection=True))
ringvco.add(gdstk.Reference(via_m1m2_auto_1_1, (55.96,34.585), rotation=pi, x_reflection=True))
ringvco.add(gdstk.Reference(via_m1m2_auto_1_1, (55.96,2.275), rotation=pi, x_reflection=True))
ringvco.add(gdstk.Reference(via_m2m3_auto_0_1, (0,22.63)))
ringvco.add(gdstk.Reference(via_m2m3_auto_0_1, (0,21.48)))
ringvco.add(gdstk.Reference(via_m2m3_auto_0_1, (0,13.23)))
ringvco.add(gdstk.Reference(via_m2m3_auto_0_1, (0,12.08)))
ringvco.add(gdstk.Reference(via_m2m3_auto_0_1, (5.625,12.08)))
ringvco.add(gdstk.Reference(via_m2m3_auto_0_1, (5.625,13.23)))
ringvco.add(gdstk.Reference(via_m2m3_auto_0_1, (6.525,22.63)))
ringvco.add(gdstk.Reference(via_m2m3_auto_0_1, (6.525,21.48)))
ringvco.add(gdstk.Reference(control, (6.4,18.205)))
ringvco.add(gdstk.Reference(diffcell, (14.295,18.93), rotation=pi))
ringvco.add(gdstk.Reference(diffcell, (23.345,18.93), rotation=pi))
ringvco.add(gdstk.Reference(diffcell, (32.395,18.93), rotation=pi))
ringvco.add(gdstk.Reference(diffcell, (41.445,18.93), rotation=pi))
ringvco.add(gdstk.Reference(diffcell, (50.495,18.93), rotation=pi))
ringvco.add(gdstk.Reference(diffcell, (41.555,17.93)))
ringvco.add(gdstk.Reference(diffcell, (32.505,17.93)))
ringvco.add(gdstk.Reference(diffcell, (23.455,17.93)))
ringvco.add(gdstk.Reference(diffcell, (14.405,17.93)))
ringvco.add(gdstk.Label('Vss', (-0.325,17.93), layer=12, texttype=0))
ringvco.add(gdstk.Label('Outp', (-0.325,12.905), layer=14, texttype=0))
ringvco.add(gdstk.Label('Outm', (-0.325,11.755), layer=14, texttype=0))
ringvco.add(gdstk.Label('VBias', (-0.325,22.305), layer=14, texttype=0))
ringvco.add(gdstk.Label('VTune', (-0.325,21.23), layer=14, texttype=0))
ringvco.add(gdstk.Label('Vdd', (-0.325,34.26), layer=14, texttype=0))

lib.write_gds('RingVCO.gds')
